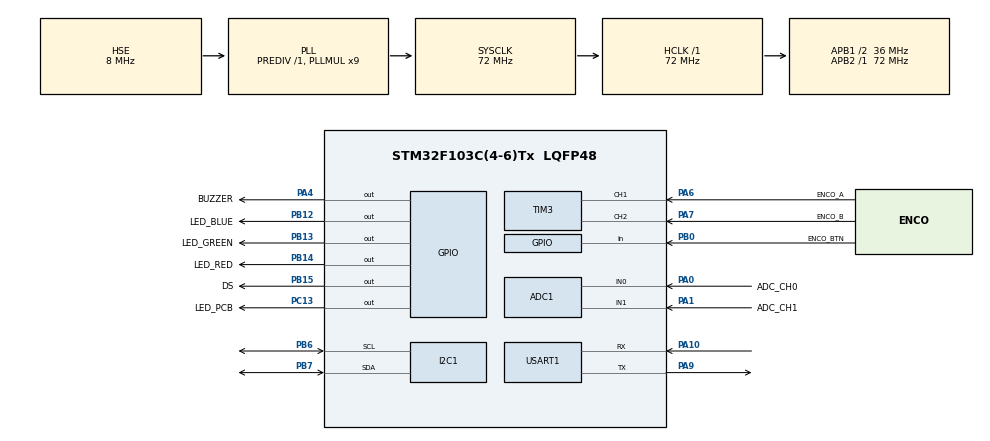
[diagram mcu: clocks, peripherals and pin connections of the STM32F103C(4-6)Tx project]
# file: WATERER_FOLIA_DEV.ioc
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ADC1.Channel-0\#ChannelRegularConversion=ADC_CHANNEL_0
ADC1.Channel-1\#ChannelRegularConversion=ADC_CHANNEL_1
ADC1.ContinuousConvMode=ENABLE
ADC1.DiscontinuousConvMode=DISABLE
ADC1.EnableInjectedConversion=DISABLE
ADC1.InjNumberOfConversion=2
ADC1.NbrOfConversion=2
ADC1.NbrOfConversionFlag=1
ADC1.Rank-0\#ChannelRegularConversion=1
ADC1.Rank-1\#ChannelRegularConversion=2
ADC1.SamplingTime-0\#ChannelRegularConversion=ADC_SAMPLETIME_28CYCLES_5
ADC1.SamplingTime-1\#ChannelRegularConversion=ADC_SAMPLETIME_28CYCLES_5
ADC1.master=1
Dma.ADC1.0.Direction=DMA_PERIPH_TO_MEMORY
Dma.ADC1.0.Instance=DMA1_Channel1
Dma.ADC1.0.MemDataAlignment=DMA_MDATAALIGN_HALFWORD
Dma.ADC1.0.MemInc=DMA_MINC_ENABLE
Dma.ADC1.0.Mode=DMA_NORMAL
Dma.ADC1.0.PeriphDataAlignment=DMA_PDATAALIGN_HALFWORD
Dma.ADC1.0.PeriphInc=DMA_PINC_DISABLE
Dma.ADC1.0.Priority=DMA_PRIORITY_LOW
Dma.Request0=ADC1
I2C1.I2C_Mode=I2C_Fast
Mcu.Family=STM32F1
Mcu.Name=STM32F103C(4-6)Tx
Mcu.Package=LQFP48
NVIC.DMA1_Channel1_IRQn=true\:0\:0\:false\:false\:true\:false\:true\:true
NVIC.PriorityGroup=NVIC_PRIORITYGROUP_4
NVIC.TIM1_UP_IRQn=true\:0\:0\:false\:false\:true\:true\:true\:true
NVIC.USART1_IRQn=true\:0\:0\:false\:false\:true\:true\:true\:true
PA0-WKUP.GPIO_Label=ADC_CH0
PA0-WKUP.Signal=ADCx_IN0
PA1.GPIO_Label=ADC_CH1
PA1.Signal=ADCx_IN1
PA10.Mode=Asynchronous
PA10.Signal=USART1_RX
PA13.Mode=Serial_Wire
PA13.Signal=SYS_JTMS-SWDIO
PA14.Mode=Serial_Wire
PA14.Signal=SYS_JTCK-SWCLK
PA4.GPIO_Label=BUZZER
PA4.Signal=GPIO_Output
PA6.GPIO_Label=ENCO_A
PA6.GPIO_PuPd=GPIO_PULLUP
PA6.Signal=S_TIM3_CH1
PA7.GPIO_Label=ENCO_B
PA7.GPIO_PuPd=GPIO_PULLUP
PA7.Signal=S_TIM3_CH2
PA9.Mode=Asynchronous
PA9.Signal=USART1_TX
PB0.GPIO_Label=ENCO_BTN
PB0.GPIO_PuPd=GPIO_PULLUP
PB0.Signal=GPIO_Input
PB12.GPIO_Label=LED_BLUE
PB12.PinState=GPIO_PIN_SET
PB12.Signal=GPIO_Output
PB13.GPIO_Label=LED_GREEN
PB13.PinState=GPIO_PIN_SET
PB13.Signal=GPIO_Output
PB14.GPIO_Label=LED_RED
PB14.PinState=GPIO_PIN_SET
PB14.Signal=GPIO_Output
PB15.GPIO_Label=DS
PB15.GPIO_ModeDefaultOutputPP=GPIO_MODE_OUTPUT_OD
PB15.GPIO_PuPd=GPIO_NOPULL
PB15.GPIO_Speed=GPIO_SPEED_FREQ_HIGH
PB15.PinState=GPIO_PIN_SET
PB15.Signal=GPIO_Output
PB6.Mode=I2C
PB6.Signal=I2C1_SCL
PB7.Mode=I2C
PB7.Signal=I2C1_SDA
PC13-TAMPER-RTC.GPIO_Label=LED_PCB
PC13-TAMPER-RTC.Signal=GPIO_Output
PC14-OSC32_IN.Mode=LSE-External-Oscillator
PC14-OSC32_IN.Signal=RCC_OSC32_IN
PC15-OSC32_OUT.Mode=LSE-External-Oscillator
PC15-OSC32_OUT.Signal=RCC_OSC32_OUT
PD0-OSC_IN.Mode=HSE-External-Oscillator
PD0-OSC_IN.Signal=RCC_OSC_IN
PD1-OSC_OUT.Mode=HSE-External-Oscillator
PD1-OSC_OUT.Signal=RCC_OSC_OUT
ProjectManager.HeapSize=0x200
ProjectManager.StackSize=0x400
ProjectManager.TargetToolchain=STM32CubeIDE
RCC.ADCPresc=RCC_ADCPCLK2_DIV6
RCC.AHBFreq_Value=72000000
RCC.APB1CLKDivider=RCC_HCLK_DIV2
RCC.APB1Freq_Value=36000000
RCC.APB1TimFreq_Value=72000000
RCC.APB2Freq_Value=72000000
RCC.APB2TimFreq_Value=72000000
RCC.EnbaleCSS=true
RCC.HCLKFreq_Value=72000000
RCC.PLLMUL=RCC_PLL_MUL9
RCC.PLLSourceVirtual=RCC_PLLSOURCE_HSE
RCC.SYSCLKFreq_VALUE=72000000
RCC.SYSCLKSource=RCC_SYSCLKSOURCE_PLLCLK
RCC.USBFreq_Value=72000000
SH.ADCx_IN0.0=ADC1_IN0,IN0
SH.ADCx_IN0.1=ADC2_IN0
SH.ADCx_IN1.0=ADC1_IN1,IN1
SH.S_TIM3_CH1.0=TIM3_CH1,Encoder_Interface
SH.S_TIM3_CH2.0=TIM3_CH2,Encoder_Interface
TIM1.AutoReloadPreload=TIM_AUTORELOAD_PRELOAD_ENABLE
TIM1.Period=999
TIM1.Prescaler=71
TIM2.AutoReloadPreload=TIM_AUTORELOAD_PRELOAD_ENABLE
TIM2.Prescaler=71
USART1.VirtualMode=VM_ASYNC
VP_TIM1_VS_ClockSourceINT.Mode=Internal
VP_TIM2_VS_ClockSourceINT.Mode=Internal
board=custom

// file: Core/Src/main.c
/* USER CODE BEGIN Header */
/**
 ******************************************************************************
 * @file           : main.c
 * @brief          : Main program body
 ******************************************************************************
 * @attention
 *
 * Copyright (c) 2022 STMicroelectronics.
 * All rights reserved.
 *
 * This software is licensed under terms that can be found in the LICENSE file
 * in the root directory of this software component.
 * If no LICENSE file comes with this software, it is provided AS-IS.
 *
 ******************************************************************************
 */
/* USER CODE END Header */
#include "main.h"
#include "adc.h"
#include "dma.h"
#include "tim.h"
#include "usart.h"
#include "gpio.h"

/* USER CODE BEGIN Includes */
#include "i2c.h"
#include <stdarg.h>
#include <string.h>
#include <stdio.h>
#include "../../OLED2/fonts.h"
#include "../../OLED2/ssd1306.h"
#include "eeprom.h"
#include "ds18b20.h"
#include "encoder.h"
#include "menu.h"
#include "higrometer.h"
#include "cfg.h"
#include "waterer_math.h"
#include "command.h"
#include "communication.h"
#include "deviceInfo.h"

/* USER CODE END Includes */

/* USER CODE BEGIN PD */
#define SEPARATOR '^'
#define ZERO_SING '@'
#define OLED_CLEAN 50000
/* USER CODE END PD */

/* USER CODE BEGIN PV */
char buf[20];
uint16_t softTimer1, softTimer2, softTimer3;
uint16_t eepromValue, encoVal = 100;
int16_t tmpC;
uint8_t menuOk;

ds18b20_T ds1;
oneWire_t oneWire1;
Encoder_T enco;
Critical_Data_T deviceData;

/* USER CODE END PV */

void SystemClock_Config(void);
/* USER CODE BEGIN PFP */

void EncoINC(void);
void EncoDEC(void);
void Menu_In(void);
/* USER CODE END PFP */

int main(void)
{

	/* MCU Configuration--------------------------------------------------------*/

	/* Reset of all peripherals, Initializes the Flash interface and the Systick. */
	HAL_Init();

	/* USER CODE BEGIN Init */
//TEST
	/* USER CODE END Init */

	/* Configure the system clock */
	SystemClock_Config();

	/* USER CODE BEGIN SysInit */
	HAL_FLASH_Unlock();
	/* USER CODE END SysInit */

	/* Initialize all configured peripherals */
	MX_GPIO_Init();
	MX_DMA_Init();
	MX_USART1_UART_Init();
	MX_ADC1_Init();
	MX_TIM3_Init();
	MX_TIM1_Init();
	MX_TIM2_Init();
	/* USER CODE BEGIN 2 */

	MX_I2C1_Init();
	SSD1306_Init();
	HAL_TIM_Base_Start_IT(&htim1);
	HAL_TIM_Base_Start(&htim2);
	Encoder_Init(&enco, ENCO_BTN_GPIO_Port, ENCO_BTN_Pin, &htim3,
	TIM_CHANNEL_ALL, &softTimer2);
	HigroInit(&hadc1);

	Cfg_Init();
	Communication_Init();
	Register_MsgComplited_Callback(ESP_New_Message);

	display.ch1LowNew = GetCh1_LowCalibVal();
	display.ch1HighNew = GetCh1_HighCalibVal();
	display.ch2LowNew = GetCh2_LowCalibVal();
	display.ch2HighNew = GetCh2_HighCalibVal();
	display.ch1TooDry = GetCh1_TooDryVal();
	display.ch2TooDry = GetCh2_TooDryVal();
	display.displayTime = GetDisp_TimeONOFF();
	//SetDisp_TimeONOFF(50000);

	wire_init(&oneWire1, &htim2, DS_GPIO_Port, DS_Pin);
	ds18b20_init(&ds1, &oneWire1);
	ds18b20_read_address(&ds1);
	menuOk = 0;
	softTimer3 = display.displayTime;

	/* USER CODE END 2 */

	/* Infinite loop */
	while (1)
	{

		/* USER CODE BEGIN 3 */

		HigroMeasure();
		Encoder_Event(&enco);

		if (!softTimer1)
		{

			if (!softTimer3)
			{
				SSD1306_Clear();

			}

			/*MENU SCREEN DISPLAY*/
			if (menuOk & (1 << 0) && softTimer3)
			{

				display.ch1Low = deviceData.ch1Higro;
				display.ch2Low = deviceData.ch2Higro;
				display.ch1rawVal = deviceData.ch1Raw;
				display.ch2rawVal = deviceData.ch2Raw;
				Menu_Refresh();

				if (!(menuOk & (1 << 1)))
				{
					EncoderRegisterCallback(&enco, Menu_Enter, Menu_Next,
							Menu_Prev);
					menuOk |= (1 << 1);
					menuOk &= ~(1 << 2);
				}

				softTimer3 = display.displayTime;

			}
			/*MAIN SCREEN DISPLAY*/
			else if (!(menuOk & (1 << 0)) && softTimer3)
			{

				SSD1306_GotoXY(0, 0);
				sprintf_v5(buf, "Temp:^C s:^ ", sizeof(buf), 0, tmpC,
						softTimer3);
				SSD1306_Puts(buf, &Font_7x10, 1);

				SSD1306_GotoXY(0, 10);
				sprintf_v5(buf, "CH0:^% ,CH1:^%      ", sizeof(buf), 0,
						deviceData.ch1Higro, deviceData.ch2Higro);
				SSD1306_Puts(buf, &Font_7x10, 1);

				SSD1306_DrawFilledRectangle(0, 30, 120, 10, 0);
				SSD1306_DrawFilledRectangle(0, 30, deviceData.ch1Higro, 10, 1);

				SSD1306_DrawFilledRectangle(0, 50, 120, 10, 0);
				SSD1306_DrawFilledRectangle(0, 50, deviceData.ch2Higro, 10, 1);

				ds18b20_start_measure(&ds1);
				ds18b20_get_temp(&ds1, &tmpC, NULL);

				SSD1306_UpdateScreen();

				if (!(menuOk & (1 << 2)))
				{
					EncoderRegisterCallback(&enco, Menu_In, EncoINC, EncoDEC);
					menuOk |= (1 << 2);
					menuOk &= ~(1 << 1);
				}

			}

			softTimer1 = 33;
		}

		deviceData.ch1Raw = Get_Data_CH1();
		deviceData.ch2Raw = Get_Data_CH2();
		deviceData.ch1Higro = Calibration(GetCh1_LowCalibVal(),
				GetCh1_HighCalibVal(), deviceData.ch1Raw);
		deviceData.ch2Higro = Calibration(GetCh2_LowCalibVal(),
				GetCh2_HighCalibVal(), deviceData.ch2Raw);
		deviceData.temp = tmpC;
		Device_Higro_OK(&deviceData, LED_RED_GPIO_Port, LED_GREEN_GPIO_Port,
		LED_RED_Pin, LED_GREEN_Pin);

		ESP_Msg_Handling(&deviceData);

	}
	/* USER CODE END 3 */
}

void SystemClock_Config(void)
{
	RCC_OscInitTypeDef RCC_OscInitStruct =
	{ 0 };
	RCC_ClkInitTypeDef RCC_ClkInitStruct =
	{ 0 };
	RCC_PeriphCLKInitTypeDef PeriphClkInit =
	{ 0 };

	/** Initializes the RCC Oscillators according to the specified parameters
	 * in the RCC_OscInitTypeDef structure.
	 */
	RCC_OscInitStruct.OscillatorType = RCC_OSCILLATORTYPE_HSE;
	RCC_OscInitStruct.HSEState = RCC_HSE_ON;
	RCC_OscInitStruct.HSEPredivValue = RCC_HSE_PREDIV_DIV1;
	RCC_OscInitStruct.HSIState = RCC_HSI_ON;
	RCC_OscInitStruct.PLL.PLLState = RCC_PLL_ON;
	RCC_OscInitStruct.PLL.PLLSource = RCC_PLLSOURCE_HSE;
	RCC_OscInitStruct.PLL.PLLMUL = RCC_PLL_MUL9;
	if (HAL_RCC_OscConfig(&RCC_OscInitStruct) != HAL_OK)
	{
		Error_Handler();
	}

	/** Initializes the CPU, AHB and APB buses clocks
	 */
	RCC_ClkInitStruct.ClockType = RCC_CLOCKTYPE_HCLK | RCC_CLOCKTYPE_SYSCLK
			| RCC_CLOCKTYPE_PCLK1 | RCC_CLOCKTYPE_PCLK2;
	RCC_ClkInitStruct.SYSCLKSource = RCC_SYSCLKSOURCE_PLLCLK;
	RCC_ClkInitStruct.AHBCLKDivider = RCC_SYSCLK_DIV1;
	RCC_ClkInitStruct.APB1CLKDivider = RCC_HCLK_DIV2;
	RCC_ClkInitStruct.APB2CLKDivider = RCC_HCLK_DIV1;

	if (HAL_RCC_ClockConfig(&RCC_ClkInitStruct, FLASH_LATENCY_2) != HAL_OK)
	{
		Error_Handler();
	}
	PeriphClkInit.PeriphClockSelection = RCC_PERIPHCLK_ADC;
	PeriphClkInit.AdcClockSelection = RCC_ADCPCLK2_DIV6;
	if (HAL_RCCEx_PeriphCLKConfig(&PeriphClkInit) != HAL_OK)
	{
		Error_Handler();
	}

	/** Enables the Clock Security System
	 */
	HAL_RCC_EnableCSS();
}

/* USER CODE BEGIN 4 */

void HAL_TIM_PeriodElapsedCallback(TIM_HandleTypeDef *htim)
{

	if (softTimer1)
		softTimer1--;

	if (softTimer2)
		softTimer2--;

	if (softTimer3)
	{
		softTimer3--;
	}

}

void Menu_In(void)
{
	menuOk |= (1 << 0);
	softTimer3 = GetDisp_TimeONOFF();
}

char* sprintf_v5(char *source, char *txt, uint8_t buf_size, uint8_t zeroEnable,
		unsigned int value, ...)
{
	uint8_t i = 0;
	uint8_t tmp = 0;
	va_list arg;
	uint32_t var = value;

	memset(source, 0x00, (buf_size));

	va_start(arg, value);

	while (*(txt + i))
	{
		if ((*(txt + i)) != SEPARATOR && (*(txt + i)) != ZERO_SING)
		{
			*(source + tmp) = *(txt + i);
			i++;
			tmp++;
		}
		else if ((*(txt + i)) == SEPARATOR)
		{
			char buf[20];
			int j = 0;
			i += 1;

			itoa(var, buf, 10);

			while (*(buf + j))
			{
				*(source + tmp) = *(buf + j);
				j++;
				tmp++;
			}
			var = va_arg(arg, unsigned int);

		}
		else if ((*(txt + i)) == ZERO_SING)
		{
			i += 1;
			*(source + tmp) = '.';
			tmp += 1;
			if (zeroEnable)
			{
				*(source + tmp) = '0';
				tmp += 1;
			}
		}
	}
	va_end(arg);
	return source;
}

void EncoINC(void)
{
	encoVal++;
	softTimer3 = GetDisp_TimeONOFF();
}

void EncoDEC(void)
{
	if (encoVal)
		encoVal--;
	softTimer3 = GetDisp_TimeONOFF();
}

/* USER CODE END 4 */

void Error_Handler(void)
{
	__disable_irq();
	while (1)
	{
	}
}
